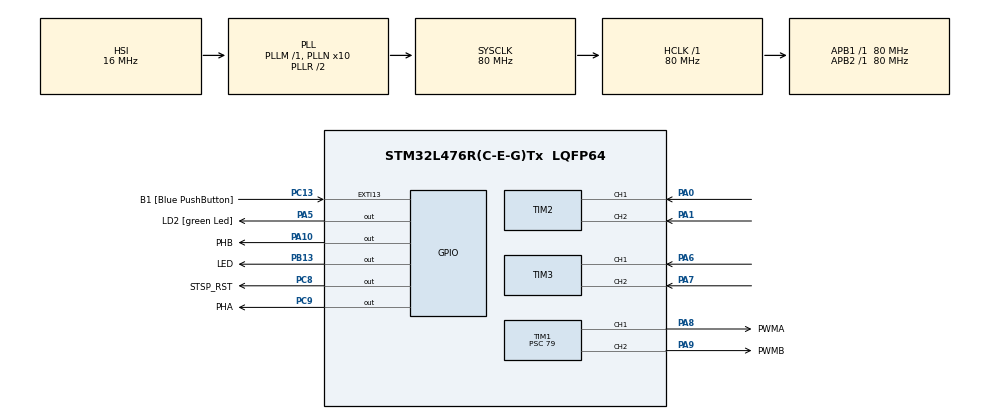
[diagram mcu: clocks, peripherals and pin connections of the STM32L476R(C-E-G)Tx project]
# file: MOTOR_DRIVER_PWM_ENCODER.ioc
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Mcu.Family=STM32L4
Mcu.Name=STM32L476R(C-E-G)Tx
Mcu.Package=LQFP64
NVIC.PriorityGroup=NVIC_PRIORITYGROUP_4
NVIC.TIM4_IRQn=true\:0\:0\:false\:false\:true\:true\:true\:true
PA0.Signal=S_TIM2_CH1
PA1.Signal=S_TIM2_CH2
PA10.GPIO_Label=PHB
PA10.Signal=GPIO_Output
PA13\ (JTMS-SWDIO).GPIO_Label=TMS
PA13\ (JTMS-SWDIO).Signal=SYS_JTMS-SWDIO
PA14\ (JTCK-SWCLK).GPIO_Label=TCK
PA14\ (JTCK-SWCLK).Signal=SYS_JTCK-SWCLK
PA2.GPIO_Label=USART_TX
PA2.GPIO_Mode=GPIO_MODE_AF_PP
PA2.GPIO_PuPd=GPIO_NOPULL
PA2.GPIO_Speed=GPIO_SPEED_FREQ_VERY_HIGH
PA2.Signal=USART2_TX
PA3.GPIO_Label=USART_RX
PA3.GPIO_Mode=GPIO_MODE_AF_PP
PA3.GPIO_PuPd=GPIO_NOPULL
PA3.GPIO_Speed=GPIO_SPEED_FREQ_VERY_HIGH
PA3.Signal=USART2_RX
PA5.GPIO_Label=LD2 [green Led]
PA5.GPIO_ModeDefaultOutputPP=GPIO_MODE_OUTPUT_PP
PA5.GPIO_PuPd=GPIO_NOPULL
PA5.GPIO_Speed=GPIO_SPEED_FREQ_LOW
PA5.Signal=GPIO_Output
PA6.Signal=S_TIM3_CH1
PA7.Signal=S_TIM3_CH2
PA8.GPIO_Label=PWMA
PA8.Signal=S_TIM1_CH1
PA9.GPIO_Label=PWMB
PA9.Signal=S_TIM1_CH2
PB13.GPIO_Label=LED
PB13.Signal=GPIO_Output
PB3\ (JTDO-TRACESWO).GPIO_Label=SWO
PB3\ (JTDO-TRACESWO).Signal=SYS_JTDO-SWO
PC13.GPIO_Label=B1 [Blue PushButton]
PC13.GPIO_ModeDefaultEXTI=GPIO_MODE_IT_FALLING
PC13.GPIO_PuPd=GPIO_NOPULL
PC13.Signal=GPXTI13
PC14-OSC32_IN\ (PC14).Signal=RCC_OSC32_IN
PC15-OSC32_OUT\ (PC15).Signal=RCC_OSC32_OUT
PC8.GPIO_Label=STSP_RST
PC8.Signal=GPIO_Output
PC9.GPIO_Label=PHA
PC9.Signal=GPIO_Output
PH0-OSC_IN\ (PH0).Signal=RCC_OSC_IN
PH1-OSC_OUT\ (PH1).Signal=RCC_OSC_OUT
ProjectManager.HeapSize=0x200
ProjectManager.StackSize=0x400
ProjectManager.TargetToolchain=STM32CubeIDE
RCC.ADCFreq_Value=64000000
RCC.AHBFreq_Value=80000000
RCC.APB1Freq_Value=80000000
RCC.APB1TimFreq_Value=80000000
RCC.APB2Freq_Value=80000000
RCC.APB2TimFreq_Value=80000000
RCC.CortexFreq_Value=80000000
RCC.HCLKFreq_Value=80000000
RCC.HSE_VALUE=8000000
RCC.HSI_VALUE=16000000
RCC.LSE_VALUE=32768
RCC.MSI_VALUE=4000000
RCC.PLLN=10
RCC.PLLSourceVirtual=RCC_PLLSOURCE_HSI
RCC.PREFETCH_ENABLE=1
RCC.SYSCLKFreq_VALUE=80000000
RCC.SYSCLKSource=RCC_SYSCLKSOURCE_PLLCLK
RCC.USBFreq_Value=64000000
RCC.VCOOutputFreq_Value=160000000
SH.S_TIM1_CH1.0=TIM1_CH1,PWM Generation1 CH1
SH.S_TIM1_CH2.0=TIM1_CH2,PWM Generation2 CH2
SH.S_TIM2_CH1.0=TIM2_CH1,Encoder_Interface
SH.S_TIM2_CH2.0=TIM2_CH2,Encoder_Interface
SH.S_TIM3_CH1.0=TIM3_CH1,Encoder_Interface
SH.S_TIM3_CH2.0=TIM3_CH2,Encoder_Interface
TIM1.Channel-PWM\ Generation1\ CH1=TIM_CHANNEL_1
TIM1.Channel-PWM\ Generation2\ CH2=TIM_CHANNEL_2
TIM1.Period=999
TIM1.Prescaler=79
TIM4.Period=9999
TIM4.Prescaler=79
VP_TIM1_VS_ClockSourceINT.Mode=Internal
VP_TIM4_VS_ClockSourceINT.Mode=Internal
board=NUCLEO-L476RG

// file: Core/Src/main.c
/* USER CODE BEGIN Header */
/**
  ******************************************************************************
  * @file           : main.c
  * @brief          : Main program body
  ******************************************************************************
  * @attention
  *
  * Copyright (c) 2024 STMicroelectronics.
  * All rights reserved.
  *
  * This software is licensed under terms that can be found in the LICENSE file
  * in the root directory of this software component.
  * If no LICENSE file comes with this software, it is provided AS-IS.
  *
  ******************************************************************************
  */
/* USER CODE END Header */
#include "main.h"

/* USER CODE BEGIN Includes */
#include "motor_control.h"
#include "stdio.h"
#include "motor_encoder.h"
/* USER CODE END Includes */

TIM_HandleTypeDef htim1;
TIM_HandleTypeDef htim2;
TIM_HandleTypeDef htim3;
TIM_HandleTypeDef htim4;

/* USER CODE BEGIN PV */
const static motor_inst motor_a = { .htim_motor = &htim1,
									.htim_motor_ch = TIM_CHANNEL_1,
									.mdir_pin_number = PHA_Pin,
									.mdir_pin_port = PHA_GPIO_Port,
									.rst_pin_number = STSP_RST_Pin,
									.rst_pin_port = STSP_RST_GPIO_Port};
const static motor_inst motor_b = { .htim_motor = &htim1,
									.htim_motor_ch = TIM_CHANNEL_2,
									.mdir_pin_number = PHB_Pin,
									.mdir_pin_port = PHB_GPIO_Port,
									.rst_pin_number = STSP_RST_Pin,
									.rst_pin_port = STSP_RST_GPIO_Port};

static encoder_inst  motora_enc = 	{.first_time = 0,
											.htim_encoder = &htim3,
											.last_counter_value = 0,
											.position = 0,
											.timer_period = 0.01,
											.velocity = 0};
static encoder_inst  motorb_enc = 	{.first_time = 0,
											.htim_encoder = &htim2,
											.last_counter_value = 0,
											.position = 0,
											.timer_period = 0.01,
											.velocity = 0};
float temp_velocity;
uint8_t timer_flag;
/* USER CODE END PV */

void SystemClock_Config(void);
static void MX_GPIO_Init(void);
static void MX_TIM1_Init(void);
static void MX_TIM2_Init(void);
static void MX_TIM3_Init(void);
static void MX_TIM4_Init(void);

int main(void)
{

  /* MCU Configuration--------------------------------------------------------*/

  /* Reset of all peripherals, Initializes the Flash interface and the Systick. */
  HAL_Init();

  /* Configure the system clock */
  SystemClock_Config();

  /* Initialize all configured peripherals */
  MX_GPIO_Init();
  MX_TIM1_Init();
  MX_TIM2_Init();
  MX_TIM3_Init();
  MX_TIM4_Init();
  /* USER CODE BEGIN 2 */
  HAL_GPIO_WritePin(LED_GPIO_Port, LED_Pin, GPIO_PIN_SET);
  HAL_Delay(5000);
  HAL_GPIO_WritePin(LED_GPIO_Port, LED_Pin, GPIO_PIN_RESET);
  HAL_TIM_PWM_Start(&htim1, TIM_CHANNEL_1);
  HAL_TIM_PWM_Start(&htim1, TIM_CHANNEL_2);
  enable_motor((motor_inst*)&motor_a);
  enable_motor((motor_inst*)&motor_b);
  HAL_Delay(100);
  set_speed_open((motor_inst*)&motor_a, 100.0);
  set_speed_open((motor_inst*)&motor_b, 100.0);
//  HAL_Delay(3000);
//  set_speed_open((motor_inst*)&motor_a, -10.0);
//   set_speed_open((motor_inst*)&motor_b, -20.0);
//   HAL_Delay(3000);
//   disable_motor((motor_inst*)&motor_a);
//   disable_motor((motor_inst*)&motor_b);
  reset_encoder(&motora_enc);
  reset_encoder(&motorb_enc);

  /* USER CODE END 2 */

  /* Infinite loop */
  /* USER CODE BEGIN WHILE */
  while (1)
  {
	  if(timer_flag)
	  {
		  timer_flag = 0;
		  get_encoder_speed(&motora_enc);
		  get_encoder_speed(&motorb_enc);
		  temp_velocity = motora_enc.velocity;
	  }
    /* USER CODE END WHILE */

  }
}

void SystemClock_Config(void)
{
  RCC_OscInitTypeDef RCC_OscInitStruct = {0};
  RCC_ClkInitTypeDef RCC_ClkInitStruct = {0};

  /** Configure the main internal regulator output voltage
  */
  if (HAL_PWREx_ControlVoltageScaling(PWR_REGULATOR_VOLTAGE_SCALE1) != HAL_OK)
  {
    Error_Handler();
  }

  /** Initializes the RCC Oscillators according to the specified parameters
  * in the RCC_OscInitTypeDef structure.
  */
  RCC_OscInitStruct.OscillatorType = RCC_OSCILLATORTYPE_HSI;
  RCC_OscInitStruct.HSIState = RCC_HSI_ON;
  RCC_OscInitStruct.HSICalibrationValue = RCC_HSICALIBRATION_DEFAULT;
  RCC_OscInitStruct.PLL.PLLState = RCC_PLL_ON;
  RCC_OscInitStruct.PLL.PLLSource = RCC_PLLSOURCE_HSI;
  RCC_OscInitStruct.PLL.PLLM = 1;
  RCC_OscInitStruct.PLL.PLLN = 10;
  RCC_OscInitStruct.PLL.PLLP = RCC_PLLP_DIV7;
  RCC_OscInitStruct.PLL.PLLQ = RCC_PLLQ_DIV2;
  RCC_OscInitStruct.PLL.PLLR = RCC_PLLR_DIV2;
  if (HAL_RCC_OscConfig(&RCC_OscInitStruct) != HAL_OK)
  {
    Error_Handler();
  }

  /** Initializes the CPU, AHB and APB buses clocks
  */
  RCC_ClkInitStruct.ClockType = RCC_CLOCKTYPE_HCLK|RCC_CLOCKTYPE_SYSCLK
                              |RCC_CLOCKTYPE_PCLK1|RCC_CLOCKTYPE_PCLK2;
  RCC_ClkInitStruct.SYSCLKSource = RCC_SYSCLKSOURCE_PLLCLK;
  RCC_ClkInitStruct.AHBCLKDivider = RCC_SYSCLK_DIV1;
  RCC_ClkInitStruct.APB1CLKDivider = RCC_HCLK_DIV1;
  RCC_ClkInitStruct.APB2CLKDivider = RCC_HCLK_DIV1;

  if (HAL_RCC_ClockConfig(&RCC_ClkInitStruct, FLASH_LATENCY_4) != HAL_OK)
  {
    Error_Handler();
  }
}

static void MX_TIM1_Init(void)
{

  TIM_ClockConfigTypeDef sClockSourceConfig = {0};
  TIM_MasterConfigTypeDef sMasterConfig = {0};
  TIM_OC_InitTypeDef sConfigOC = {0};
  TIM_BreakDeadTimeConfigTypeDef sBreakDeadTimeConfig = {0};

  /* USER CODE BEGIN TIM1_Init 1 */
  // 80 MHz/ ( 79 + 1) = 1 MHz timer
  // 1 MHZ/ (999 + 1) = 1 kHz
  // 500 / (999 + 1) = 0.5
  /* USER CODE END TIM1_Init 1 */
  htim1.Instance = TIM1;
  htim1.Init.Prescaler = 79;
  htim1.Init.CounterMode = TIM_COUNTERMODE_UP;
  htim1.Init.Period = 999;
  htim1.Init.ClockDivision = TIM_CLOCKDIVISION_DIV1;
  htim1.Init.RepetitionCounter = 0;
  htim1.Init.AutoReloadPreload = TIM_AUTORELOAD_PRELOAD_DISABLE;
  if (HAL_TIM_Base_Init(&htim1) != HAL_OK)
  {
    Error_Handler();
  }
  sClockSourceConfig.ClockSource = TIM_CLOCKSOURCE_INTERNAL;
  if (HAL_TIM_ConfigClockSource(&htim1, &sClockSourceConfig) != HAL_OK)
  {
    Error_Handler();
  }
  if (HAL_TIM_PWM_Init(&htim1) != HAL_OK)
  {
    Error_Handler();
  }
  sMasterConfig.MasterOutputTrigger = TIM_TRGO_RESET;
  sMasterConfig.MasterOutputTrigger2 = TIM_TRGO2_RESET;
  sMasterConfig.MasterSlaveMode = TIM_MASTERSLAVEMODE_DISABLE;
  if (HAL_TIMEx_MasterConfigSynchronization(&htim1, &sMasterConfig) != HAL_OK)
  {
    Error_Handler();
  }
  sConfigOC.OCMode = TIM_OCMODE_PWM1;
  sConfigOC.Pulse = 0;
  sConfigOC.OCPolarity = TIM_OCPOLARITY_HIGH;
  sConfigOC.OCNPolarity = TIM_OCNPOLARITY_HIGH;
  sConfigOC.OCFastMode = TIM_OCFAST_DISABLE;
  sConfigOC.OCIdleState = TIM_OCIDLESTATE_RESET;
  sConfigOC.OCNIdleState = TIM_OCNIDLESTATE_RESET;
  if (HAL_TIM_PWM_ConfigChannel(&htim1, &sConfigOC, TIM_CHANNEL_1) != HAL_OK)
  {
    Error_Handler();
  }
  if (HAL_TIM_PWM_ConfigChannel(&htim1, &sConfigOC, TIM_CHANNEL_2) != HAL_OK)
  {
    Error_Handler();
  }
  sBreakDeadTimeConfig.OffStateRunMode = TIM_OSSR_DISABLE;
  sBreakDeadTimeConfig.OffStateIDLEMode = TIM_OSSI_DISABLE;
  sBreakDeadTimeConfig.LockLevel = TIM_LOCKLEVEL_OFF;
  sBreakDeadTimeConfig.DeadTime = 0;
  sBreakDeadTimeConfig.BreakState = TIM_BREAK_DISABLE;
  sBreakDeadTimeConfig.BreakPolarity = TIM_BREAKPOLARITY_HIGH;
  sBreakDeadTimeConfig.BreakFilter = 0;
  sBreakDeadTimeConfig.Break2State = TIM_BREAK2_DISABLE;
  sBreakDeadTimeConfig.Break2Polarity = TIM_BREAK2POLARITY_HIGH;
  sBreakDeadTimeConfig.Break2Filter = 0;
  sBreakDeadTimeConfig.AutomaticOutput = TIM_AUTOMATICOUTPUT_DISABLE;
  if (HAL_TIMEx_ConfigBreakDeadTime(&htim1, &sBreakDeadTimeConfig) != HAL_OK)
  {
    Error_Handler();
  }
  HAL_TIM_MspPostInit(&htim1);

}

static void MX_TIM2_Init(void)
{

  TIM_Encoder_InitTypeDef sConfig = {0};
  TIM_MasterConfigTypeDef sMasterConfig = {0};

  htim2.Instance = TIM2;
  htim2.Init.Prescaler = 0;
  htim2.Init.CounterMode = TIM_COUNTERMODE_UP;
  htim2.Init.Period = 4294967295;
  htim2.Init.ClockDivision = TIM_CLOCKDIVISION_DIV1;
  htim2.Init.AutoReloadPreload = TIM_AUTORELOAD_PRELOAD_DISABLE;
  sConfig.EncoderMode = TIM_ENCODERMODE_TI1;
  sConfig.IC1Polarity = TIM_ICPOLARITY_RISING;
  sConfig.IC1Selection = TIM_ICSELECTION_DIRECTTI;
  sConfig.IC1Prescaler = TIM_ICPSC_DIV1;
  sConfig.IC1Filter = 0;
  sConfig.IC2Polarity = TIM_ICPOLARITY_RISING;
  sConfig.IC2Selection = TIM_ICSELECTION_DIRECTTI;
  sConfig.IC2Prescaler = TIM_ICPSC_DIV1;
  sConfig.IC2Filter = 0;
  if (HAL_TIM_Encoder_Init(&htim2, &sConfig) != HAL_OK)
  {
    Error_Handler();
  }
  sMasterConfig.MasterOutputTrigger = TIM_TRGO_RESET;
  sMasterConfig.MasterSlaveMode = TIM_MASTERSLAVEMODE_DISABLE;
  if (HAL_TIMEx_MasterConfigSynchronization(&htim2, &sMasterConfig) != HAL_OK)
  {
    Error_Handler();
  }
  /* USER CODE BEGIN TIM2_Init 2 */
  HAL_TIM_Encoder_Start(&htim2, TIM_CHANNEL_ALL);
  /* USER CODE END TIM2_Init 2 */

}

static void MX_TIM3_Init(void)
{

  TIM_Encoder_InitTypeDef sConfig = {0};
  TIM_MasterConfigTypeDef sMasterConfig = {0};

  htim3.Instance = TIM3;
  htim3.Init.Prescaler = 0;
  htim3.Init.CounterMode = TIM_COUNTERMODE_UP;
  htim3.Init.Period = 65535;
  htim3.Init.ClockDivision = TIM_CLOCKDIVISION_DIV1;
  htim3.Init.AutoReloadPreload = TIM_AUTORELOAD_PRELOAD_DISABLE;
  sConfig.EncoderMode = TIM_ENCODERMODE_TI1;
  sConfig.IC1Polarity = TIM_ICPOLARITY_RISING;
  sConfig.IC1Selection = TIM_ICSELECTION_DIRECTTI;
  sConfig.IC1Prescaler = TIM_ICPSC_DIV1;
  sConfig.IC1Filter = 0;
  sConfig.IC2Polarity = TIM_ICPOLARITY_RISING;
  sConfig.IC2Selection = TIM_ICSELECTION_DIRECTTI;
  sConfig.IC2Prescaler = TIM_ICPSC_DIV1;
  sConfig.IC2Filter = 0;
  if (HAL_TIM_Encoder_Init(&htim3, &sConfig) != HAL_OK)
  {
    Error_Handler();
  }
  sMasterConfig.MasterOutputTrigger = TIM_TRGO_RESET;
  sMasterConfig.MasterSlaveMode = TIM_MASTERSLAVEMODE_DISABLE;
  if (HAL_TIMEx_MasterConfigSynchronization(&htim3, &sMasterConfig) != HAL_OK)
  {
    Error_Handler();
  }
  /* USER CODE BEGIN TIM3_Init 2 */
  HAL_TIM_Encoder_Start(&htim3, TIM_CHANNEL_ALL);
  /* USER CODE END TIM3_Init 2 */

}

static void MX_TIM4_Init(void)
{

  TIM_ClockConfigTypeDef sClockSourceConfig = {0};
  TIM_MasterConfigTypeDef sMasterConfig = {0};

  htim4.Instance = TIM4;
  htim4.Init.Prescaler = 79;
  htim4.Init.CounterMode = TIM_COUNTERMODE_UP;
  htim4.Init.Period = 9999;
  htim4.Init.ClockDivision = TIM_CLOCKDIVISION_DIV1;
  htim4.Init.AutoReloadPreload = TIM_AUTORELOAD_PRELOAD_DISABLE;
  if (HAL_TIM_Base_Init(&htim4) != HAL_OK)
  {
    Error_Handler();
  }
  sClockSourceConfig.ClockSource = TIM_CLOCKSOURCE_INTERNAL;
  if (HAL_TIM_ConfigClockSource(&htim4, &sClockSourceConfig) != HAL_OK)
  {
    Error_Handler();
  }
  sMasterConfig.MasterOutputTrigger = TIM_TRGO_RESET;
  sMasterConfig.MasterSlaveMode = TIM_MASTERSLAVEMODE_DISABLE;
  if (HAL_TIMEx_MasterConfigSynchronization(&htim4, &sMasterConfig) != HAL_OK)
  {
    Error_Handler();
  }
  /* USER CODE BEGIN TIM4_Init 2 */
  HAL_TIM_Base_Start_IT(&htim4);
  /* USER CODE END TIM4_Init 2 */

}

static void MX_GPIO_Init(void)
{
  GPIO_InitTypeDef GPIO_InitStruct = {0};

  /* GPIO Ports Clock Enable */
  __HAL_RCC_GPIOC_CLK_ENABLE();
  __HAL_RCC_GPIOH_CLK_ENABLE();
  __HAL_RCC_GPIOA_CLK_ENABLE();
  __HAL_RCC_GPIOB_CLK_ENABLE();

  /*Configure GPIO pin Output Level */
  HAL_GPIO_WritePin(GPIOA, LD2_Pin|PHB_Pin, GPIO_PIN_RESET);

  /*Configure GPIO pin Output Level */
  HAL_GPIO_WritePin(LED_GPIO_Port, LED_Pin, GPIO_PIN_RESET);

  /*Configure GPIO pin Output Level */
  HAL_GPIO_WritePin(GPIOC, STSP_RST_Pin|PHA_Pin, GPIO_PIN_RESET);

  /*Configure GPIO pin : B1_Pin */
  GPIO_InitStruct.Pin = B1_Pin;
  GPIO_InitStruct.Mode = GPIO_MODE_IT_FALLING;
  GPIO_InitStruct.Pull = GPIO_NOPULL;
  HAL_GPIO_Init(B1_GPIO_Port, &GPIO_InitStruct);

  /*Configure GPIO pins : USART_TX_Pin USART_RX_Pin */
  GPIO_InitStruct.Pin = USART_TX_Pin|USART_RX_Pin;
  GPIO_InitStruct.Mode = GPIO_MODE_AF_PP;
  GPIO_InitStruct.Pull = GPIO_NOPULL;
  GPIO_InitStruct.Speed = GPIO_SPEED_FREQ_VERY_HIGH;
  GPIO_InitStruct.Alternate = GPIO_AF7_USART2;
  HAL_GPIO_Init(GPIOA, &GPIO_InitStruct);

  /*Configure GPIO pins : LD2_Pin PHB_Pin */
  GPIO_InitStruct.Pin = LD2_Pin|PHB_Pin;
  GPIO_InitStruct.Mode = GPIO_MODE_OUTPUT_PP;
  GPIO_InitStruct.Pull = GPIO_NOPULL;
  GPIO_InitStruct.Speed = GPIO_SPEED_FREQ_LOW;
  HAL_GPIO_Init(GPIOA, &GPIO_InitStruct);

  /*Configure GPIO pin : LED_Pin */
  GPIO_InitStruct.Pin = LED_Pin;
  GPIO_InitStruct.Mode = GPIO_MODE_OUTPUT_PP;
  GPIO_InitStruct.Pull = GPIO_NOPULL;
  GPIO_InitStruct.Speed = GPIO_SPEED_FREQ_LOW;
  HAL_GPIO_Init(LED_GPIO_Port, &GPIO_InitStruct);

  /*Configure GPIO pins : STSP_RST_Pin PHA_Pin */
  GPIO_InitStruct.Pin = STSP_RST_Pin|PHA_Pin;
  GPIO_InitStruct.Mode = GPIO_MODE_OUTPUT_PP;
  GPIO_InitStruct.Pull = GPIO_NOPULL;
  GPIO_InitStruct.Speed = GPIO_SPEED_FREQ_LOW;
  HAL_GPIO_Init(GPIOC, &GPIO_InitStruct);

}

/* USER CODE BEGIN 4 */
int _write(int le, char *ptr, int len)
{
	int DataIdx;
	for(DataIdx = 0; DataIdx < len; DataIdx++)
	{
		ITM_SendChar(*ptr++);
	}
	return len;
}

void HAL_TIM_PeriodElapsedCallback(TIM_HandleTypeDef *htim)
{
	if(htim == &htim4)
	{
		timer_flag = 1;
	}
}
/* USER CODE END 4 */

void Error_Handler(void)
{
  __disable_irq();
  while (1)
  {
  }
}
